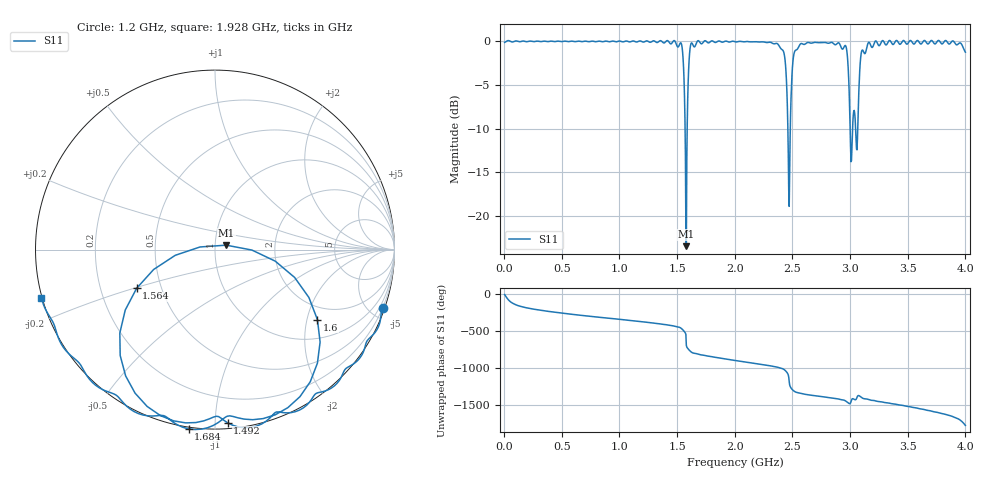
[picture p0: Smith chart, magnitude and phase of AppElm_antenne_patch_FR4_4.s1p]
! TOUCHSTONE file generated by CST MICROWAVE STUDIO
! Date and time: Tue Jun 14 13:48:52 2022
! Project name: AppElm_antenne_patch_FR4.cst
! Parameters = {L=45; W=58.5; e=0.035; h=1.6; lambda=0.190476; ls=120; w0=2.54; w1=0.847; ws=120; y0=18; y1=21.42}
! Header version: 2018
! Port assignment regex: !\s*Touchstone port\s*([0-9]+)\s*=\s*(CST MWS port|CST DS port)\s*([0-9]+|Zmin|Zmax)\s*\(\"(.*)\"\)(\s*mode\s*([0-9]+))?.*
! Touchstone port assignment:
! Touchstone port 1 = CST MWS port 1 ("")
# GHz S MA R 50
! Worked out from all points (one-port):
!   1000 points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, 4 MHz to 4 GHz, reference 50 ohm
!   lowest |S11| = -23.4 dB at 1.58 GHz (marker M1), VSWR 1.14, Z = 56.6 + j2.81 ohm
!   |S11| at or under -10 dB: 1.569 GHz to 1.587 GHz (18.31 MHz wide, 1.16 % of centre); 2.46 GHz to 2.482 GHz (21.24 MHz wide, 0.86 % of centre); 3.001 GHz to 3.022 GHz (21.07 MHz wide, 0.7 % of centre)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
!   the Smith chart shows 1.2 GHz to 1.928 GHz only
!   S11 on the Smith chart (normalised r, x): 1.2 GHz: 0.13, -5.88; 1.492 GHz: 0.04, -1.07; 1.564 GHz: 0.36, -0.20; 1.6 GHz: 1.55, -2.32; 1.684 GHz: -0.01, -0.86; 1.928 GHz: -0.00, -0.14
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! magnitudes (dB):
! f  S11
! 4 MHz  -0.1
! 504 MHz  0.0
! 1.004 GHz  0.0
! 1.2 GHz  -0.1
! 1.492 GHz  -0.3
! 1.504 GHz  -0.6
! 1.544 GHz  -0.8
! 1.564 GHz  -6.3
! 1.58 GHz  -23.4
! 1.6 GHz  -3.2
! 1.62 GHz  -0.3
! 1.684 GHz  0.1
! 1.928 GHz  0.0
! 2.004 GHz  0.0
! 2.408 GHz  -0.9
! 2.436 GHz  -2.1
! 2.456 GHz  -7.4
! 2.472 GHz  -18.9
! 2.504 GHz  -2.3
! 2.576 GHz  -0.2
! 2.952 GHz  -0.5
! 2.976 GHz  -1.6
! 3.004 GHz  -12.0
! 3.056 GHz  -12.3
! 3.1 GHz  -1.1
! 3.156 GHz  -0.2
! 3.504 GHz  -0.2
! 4 GHz  -1.2
